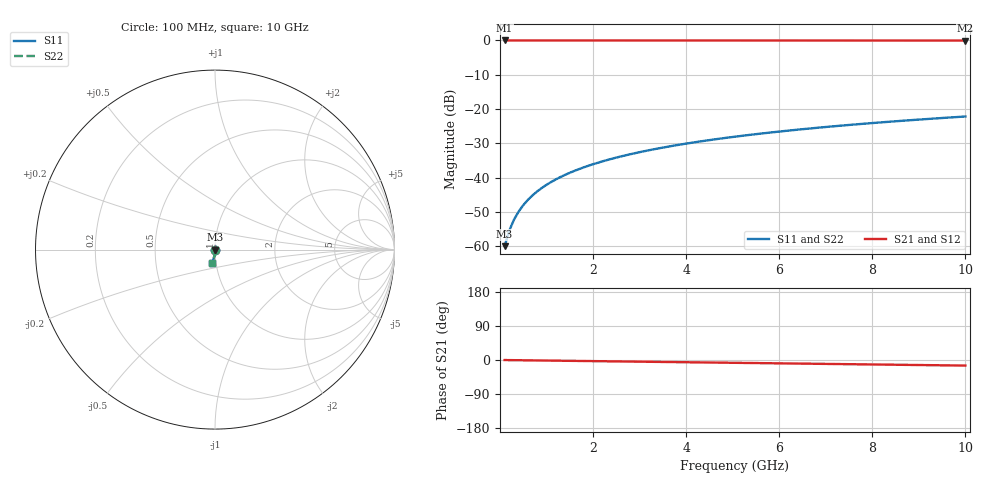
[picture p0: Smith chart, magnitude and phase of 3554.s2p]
# Hz S RI R 50.00
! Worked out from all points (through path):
!   100 points, 100 MHz to 10 GHz, reference 50 ohm
!   highest |S21| = -0.01 dB at 100 MHz (marker M1); lowest = 0.0 dB at 10 GHz (marker M2)
!   group delay of S21, straight-line fit = 4.09 ps
!   lowest |S11| = -60.0 dB at 100 MHz (marker M3), VSWR 1.00, Z = 50.1 - j0.0785 ohm
!   |S11| at or under -10 dB: start of sweep to end of sweep
!   |S22| runs from -60.0 to -22.2 dB; largest |S21 - S12| = 0
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1e8  0.000622 -0.000784  0.9994 -0.00256  0.9994 -0.00256  0.000622 -0.000784
2e8  0.000619 -0.00157  0.9994 -0.00512  0.9994 -0.00512  0.000619 -0.00157
3e8  0.00061 -0.00235  0.9993 -0.00768  0.9993 -0.00768  0.00061 -0.00235
4e8  0.000597 -0.00314  0.9993 -0.0102  0.9993 -0.0102  0.000597 -0.00314
5e8  0.00058 -0.00392  0.9993 -0.0128  0.9993 -0.0128  0.00058 -0.00392
6e8  0.000558 -0.0047  0.9992 -0.0154  0.9992 -0.0154  0.000558 -0.0047
7e8  0.000532 -0.00549  0.9992 -0.0179  0.9992 -0.0179  0.000532 -0.00549
8e8  0.000502 -0.00627  0.9991 -0.0205  0.9991 -0.0205  0.000502 -0.00627
9e8  0.000468 -0.00705  0.999 -0.023  0.999 -0.023  0.000468 -0.00705
1.1e9  0.000387 -0.00862  0.9989 -0.0282  0.9989 -0.0282  0.000387 -0.00862
1.4e9  0.000236 -0.011  0.9986 -0.0358  0.9986 -0.0358  0.000236 -0.011
1.8e9  -2.32e-05 -0.0141  0.9982 -0.0461  0.9982 -0.0461  -2.32e-05 -0.0141
2.1e9  -0.00026 -0.0164  0.9977 -0.0538  0.9977 -0.0538  -0.00026 -0.0164
2.5e9  -0.000631 -0.0196  0.9971 -0.064  0.9971 -0.064  -0.000631 -0.0196
2.9e9  -0.00107 -0.0227  0.9963 -0.0742  0.9963 -0.0742  -0.00107 -0.0227
3.4e9  -0.0017 -0.0266  0.9951 -0.087  0.9951 -0.087  -0.0017 -0.0266
4.2e9  -0.00293 -0.0327  0.9929 -0.1074  0.9929 -0.1074  -0.00293 -0.0327
5.1e9  -0.00461 -0.0396  0.9899 -0.1303  0.9899 -0.1303  -0.00461 -0.0396
5.9e9  -0.00637 -0.0457  0.9867 -0.1506  0.9867 -0.1506  -0.00637 -0.0457
6.7e9  -0.00838 -0.0517  0.9831 -0.1708  0.9831 -0.1708  -0.00838 -0.0517
8.4e9  -0.0135 -0.0641  0.9739 -0.2135  0.9739 -0.2135  -0.0135 -0.0641
1e10  -0.0192 -0.0754  0.9633 -0.2533  0.9633 -0.2533  -0.0192 -0.0754
